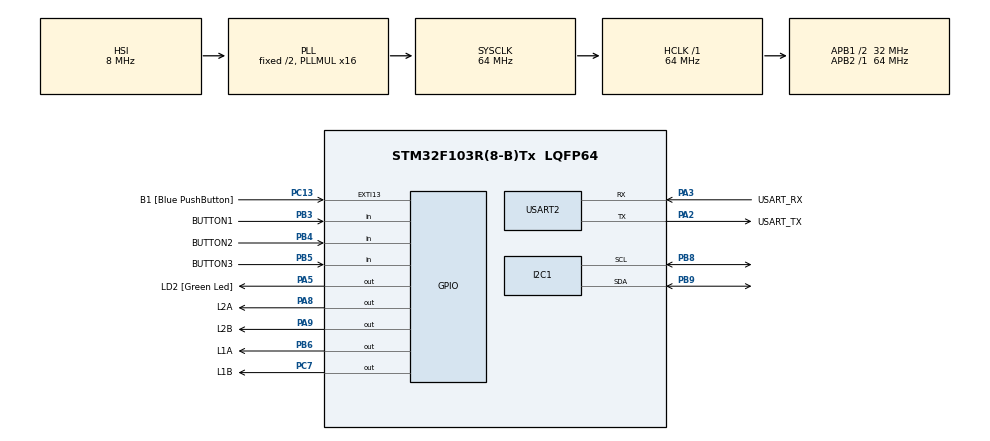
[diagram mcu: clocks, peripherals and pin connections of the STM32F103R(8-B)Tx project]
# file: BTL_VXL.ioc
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Mcu.Family=STM32F1
Mcu.Name=STM32F103R(8-B)Tx
Mcu.Package=LQFP64
NVIC.EXTI15_10_IRQn=true\:0\:0\:false\:false\:true\:true\:true
NVIC.PriorityGroup=NVIC_PRIORITYGROUP_4
NVIC.TIM2_IRQn=true\:0\:0\:false\:false\:true\:true\:true
PA13.GPIO_Label=TMS
PA13.Mode=Serial_Wire
PA13.Signal=SYS_JTMS-SWDIO
PA14.GPIO_Label=TCK
PA14.Mode=Serial_Wire
PA14.Signal=SYS_JTCK-SWCLK
PA2.GPIO_Label=USART_TX
PA2.GPIO_Mode=GPIO_MODE_AF_PP
PA2.GPIO_PuPd=GPIO_NOPULL
PA2.GPIO_Speed=GPIO_SPEED_FREQ_LOW
PA2.Mode=Asynchronous
PA2.Signal=USART2_TX
PA3.GPIO_Label=USART_RX
PA3.GPIO_Mode=GPIO_MODE_AF_PP
PA3.GPIO_PuPd=GPIO_NOPULL
PA3.GPIO_Speed=GPIO_SPEED_FREQ_LOW
PA3.Mode=Asynchronous
PA3.Signal=USART2_RX
PA5.GPIO_Label=LD2 [Green Led]
PA5.GPIO_ModeDefaultOutputPP=GPIO_MODE_OUTPUT_PP
PA5.GPIO_PuPd=GPIO_NOPULL
PA5.GPIO_Speed=GPIO_SPEED_FREQ_LOW
PA5.Signal=GPIO_Output
PA8.GPIO_Label=L2A
PA8.Signal=GPIO_Output
PA9.GPIO_Label=L2B
PA9.Signal=GPIO_Output
PB3.GPIO_Label=BUTTON1
PB3.Signal=GPIO_Input
PB4.GPIO_Label=BUTTON2
PB4.Signal=GPIO_Input
PB5.GPIO_Label=BUTTON3
PB5.Signal=GPIO_Input
PB6.GPIO_Label=L1A
PB6.Signal=GPIO_Output
PB8.Mode=I2C
PB8.Signal=I2C1_SCL
PB9.Mode=I2C
PB9.Signal=I2C1_SDA
PC13-TAMPER-RTC.GPIO_Label=B1 [Blue PushButton]
PC13-TAMPER-RTC.GPIO_PuPd=GPIO_NOPULL
PC13-TAMPER-RTC.Signal=GPXTI13
PC14-OSC32_IN.Mode=LSE-External-Oscillator
PC14-OSC32_IN.Signal=RCC_OSC32_IN
PC15-OSC32_OUT.Mode=LSE-External-Oscillator
PC15-OSC32_OUT.Signal=RCC_OSC32_OUT
PC7.GPIO_Label=L1B
PC7.Signal=GPIO_Output
PD0-OSC_IN.Mode=HSE-External-Clock-Source
PD0-OSC_IN.Signal=RCC_OSC_IN
PD1-OSC_OUT.Mode=HSE-External-Clock-Source
PD1-OSC_OUT.Signal=RCC_OSC_OUT
ProjectManager.HeapSize=0x200
ProjectManager.StackSize=0x400
ProjectManager.TargetToolchain=STM32CubeIDE
RCC.AHBFreq_Value=64000000
RCC.APB1CLKDivider=RCC_HCLK_DIV2
RCC.APB1Freq_Value=32000000
RCC.APB1TimFreq_Value=64000000
RCC.APB2Freq_Value=64000000
RCC.APB2TimFreq_Value=64000000
RCC.HCLKFreq_Value=64000000
RCC.PLLMUL=RCC_PLL_MUL16
RCC.RTCClockSelection=RCC_RTCCLKSOURCE_LSE
RCC.SYSCLKFreq_VALUE=64000000
RCC.SYSCLKSource=RCC_SYSCLKSOURCE_PLLCLK
RCC.USBFreq_Value=64000000
TIM2.Period=9
TIM2.Prescaler=7999
USART2.VirtualMode=VM_ASYNC
VP_TIM2_VS_ClockSourceINT.Mode=Internal
board=NUCLEO-F103RB

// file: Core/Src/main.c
/* USER CODE BEGIN Header */
/**
  ******************************************************************************
  * @file           : main.c
  * @brief          : Main program body
  ******************************************************************************
  * @attention
  *
  * <h2><center>&copy; Copyright (c) 2025 STMicroelectronics.
  * All rights reserved.</center></h2>
  *
  * This software component is licensed by ST under BSD 3-Clause license,
  * the "License"; You may not use this file except in compliance with the
  * License. You may obtain a copy of the License at:
  *                        opensource.org/licenses/BSD-3-Clause
  *
  ******************************************************************************
  */
/* USER CODE END Header */
#include "main.h"

/* USER CODE BEGIN Includes */
#include "button.h"
#include "fsm.h"
#include "scheduler.h"
#include "i2c-lcd.h"
/* USER CODE END Includes */

I2C_HandleTypeDef hi2c1;

TIM_HandleTypeDef htim2;

UART_HandleTypeDef huart2;

void SystemClock_Config(void);
static void MX_GPIO_Init(void);
static void MX_USART2_UART_Init(void);
static void MX_TIM2_Init(void);
static void MX_I2C1_Init(void);

/* USER CODE BEGIN 0 */
extern int current_time_1;
extern int current_time_2;
extern int red_time;
extern int green_time;
/* USER CODE END 0 */

int main(void)
{

  /* MCU Configuration--------------------------------------------------------*/

  /* Reset of all peripherals, Initializes the Flash interface and the Systick. */
  HAL_Init();

  /* Configure the system clock */
  SystemClock_Config();

  /* Initialize all configured peripherals */
  MX_GPIO_Init();
  MX_USART2_UART_Init();
  MX_TIM2_Init();
  MX_I2C1_Init();
  /* USER CODE BEGIN 2 */
  HAL_TIM_Base_Start_IT(&htim2);

  HAL_Delay(200);
  lcd_init();
  lcd_clear_display();
  HAL_Delay(1000);
  lcd_clear_display();
	// setTrafficLED(1,0,0, 0,0,1) được gọi bên trong enterState
	enterState(STATE_R1_G2, 1,0,0, 0,0,1); // Dùng STATE_R1_G2 thay cho AUTO_R1_G2

	lcd_show_auto_mode(5, 3); // Hiển thị thời gian khởi tạo ban đầu

  /* USER CODE END 2 */

  /* Infinite loop */
  /* USER CODE BEGIN WHILE */

	  SCH_Init();

	  // Task_Button_Read được gọi mỗi 1ms (chống dội)
	  SCH_Add_Task(Task_Button_Read, 0, 1);
	  // Task_FSM được gọi mỗi 1000ms (1 giây) để giảm thời gian/chuyển trạng thái
	  SCH_Add_Task(Task_FSM, 0, 1000);
	  // Task_BlinkLED được gọi mỗi 200ms (0.2 giây) cho chế độ Config nhấp nháy
	  SCH_Add_Task(Task_BlinkLED, 200, 200);

   // enterState(AUTO_R1_G2, 1,0,0, 0,0,1);

  while (1)
  {
	  SCH_Dispatch_Tasks();
    /* USER CODE END WHILE */

  }
}

void SystemClock_Config(void)
{
  RCC_OscInitTypeDef RCC_OscInitStruct = {0};
  RCC_ClkInitTypeDef RCC_ClkInitStruct = {0};

  /** Initializes the RCC Oscillators according to the specified parameters
  * in the RCC_OscInitTypeDef structure.
  */
  RCC_OscInitStruct.OscillatorType = RCC_OSCILLATORTYPE_HSI;
  RCC_OscInitStruct.HSIState = RCC_HSI_ON;
  RCC_OscInitStruct.HSICalibrationValue = RCC_HSICALIBRATION_DEFAULT;
  RCC_OscInitStruct.PLL.PLLState = RCC_PLL_ON;
  RCC_OscInitStruct.PLL.PLLSource = RCC_PLLSOURCE_HSI_DIV2;
  RCC_OscInitStruct.PLL.PLLMUL = RCC_PLL_MUL16;
  if (HAL_RCC_OscConfig(&RCC_OscInitStruct) != HAL_OK)
  {
    Error_Handler();
  }
  /** Initializes the CPU, AHB and APB buses clocks
  */
  RCC_ClkInitStruct.ClockType = RCC_CLOCKTYPE_HCLK|RCC_CLOCKTYPE_SYSCLK
                              |RCC_CLOCKTYPE_PCLK1|RCC_CLOCKTYPE_PCLK2;
  RCC_ClkInitStruct.SYSCLKSource = RCC_SYSCLKSOURCE_PLLCLK;
  RCC_ClkInitStruct.AHBCLKDivider = RCC_SYSCLK_DIV1;
  RCC_ClkInitStruct.APB1CLKDivider = RCC_HCLK_DIV2;
  RCC_ClkInitStruct.APB2CLKDivider = RCC_HCLK_DIV1;

  if (HAL_RCC_ClockConfig(&RCC_ClkInitStruct, FLASH_LATENCY_2) != HAL_OK)
  {
    Error_Handler();
  }
}

static void MX_I2C1_Init(void)
{

  hi2c1.Instance = I2C1;
  hi2c1.Init.ClockSpeed = 100000;
  hi2c1.Init.DutyCycle = I2C_DUTYCYCLE_2;
  hi2c1.Init.OwnAddress1 = 0;
  hi2c1.Init.AddressingMode = I2C_ADDRESSINGMODE_7BIT;
  hi2c1.Init.DualAddressMode = I2C_DUALADDRESS_DISABLE;
  hi2c1.Init.OwnAddress2 = 0;
  hi2c1.Init.GeneralCallMode = I2C_GENERALCALL_DISABLE;
  hi2c1.Init.NoStretchMode = I2C_NOSTRETCH_DISABLE;
  if (HAL_I2C_Init(&hi2c1) != HAL_OK)
  {
    Error_Handler();
  }

}

static void MX_TIM2_Init(void)
{

  TIM_ClockConfigTypeDef sClockSourceConfig = {0};
  TIM_MasterConfigTypeDef sMasterConfig = {0};

  htim2.Instance = TIM2;
  htim2.Init.Prescaler = 7999;
  htim2.Init.CounterMode = TIM_COUNTERMODE_UP;
  htim2.Init.Period = 9;
  htim2.Init.ClockDivision = TIM_CLOCKDIVISION_DIV1;
  htim2.Init.AutoReloadPreload = TIM_AUTORELOAD_PRELOAD_DISABLE;
  if (HAL_TIM_Base_Init(&htim2) != HAL_OK)
  {
    Error_Handler();
  }
  sClockSourceConfig.ClockSource = TIM_CLOCKSOURCE_INTERNAL;
  if (HAL_TIM_ConfigClockSource(&htim2, &sClockSourceConfig) != HAL_OK)
  {
    Error_Handler();
  }
  sMasterConfig.MasterOutputTrigger = TIM_TRGO_RESET;
  sMasterConfig.MasterSlaveMode = TIM_MASTERSLAVEMODE_DISABLE;
  if (HAL_TIMEx_MasterConfigSynchronization(&htim2, &sMasterConfig) != HAL_OK)
  {
    Error_Handler();
  }

}

static void MX_USART2_UART_Init(void)
{

  huart2.Instance = USART2;
  huart2.Init.BaudRate = 115200;
  huart2.Init.WordLength = UART_WORDLENGTH_8B;
  huart2.Init.StopBits = UART_STOPBITS_1;
  huart2.Init.Parity = UART_PARITY_NONE;
  huart2.Init.Mode = UART_MODE_TX_RX;
  huart2.Init.HwFlowCtl = UART_HWCONTROL_NONE;
  huart2.Init.OverSampling = UART_OVERSAMPLING_16;
  if (HAL_UART_Init(&huart2) != HAL_OK)
  {
    Error_Handler();
  }

}

static void MX_GPIO_Init(void)
{
  GPIO_InitTypeDef GPIO_InitStruct = {0};

  /* GPIO Ports Clock Enable */
  __HAL_RCC_GPIOC_CLK_ENABLE();
  __HAL_RCC_GPIOD_CLK_ENABLE();
  __HAL_RCC_GPIOA_CLK_ENABLE();
  __HAL_RCC_GPIOB_CLK_ENABLE();

  /*Configure GPIO pin Output Level */
  HAL_GPIO_WritePin(GPIOA, LD2_Pin|L2A_Pin|L2B_Pin, GPIO_PIN_RESET);

  /*Configure GPIO pin Output Level */
  HAL_GPIO_WritePin(L1B_GPIO_Port, L1B_Pin, GPIO_PIN_RESET);

  /*Configure GPIO pin Output Level */
  HAL_GPIO_WritePin(L1A_GPIO_Port, L1A_Pin, GPIO_PIN_RESET);

  /*Configure GPIO pin : B1_Pin */
  GPIO_InitStruct.Pin = B1_Pin;
  GPIO_InitStruct.Mode = GPIO_MODE_IT_RISING;
  GPIO_InitStruct.Pull = GPIO_NOPULL;
  HAL_GPIO_Init(B1_GPIO_Port, &GPIO_InitStruct);

  /*Configure GPIO pins : LD2_Pin L2A_Pin L2B_Pin */
  GPIO_InitStruct.Pin = LD2_Pin|L2A_Pin|L2B_Pin;
  GPIO_InitStruct.Mode = GPIO_MODE_OUTPUT_PP;
  GPIO_InitStruct.Pull = GPIO_NOPULL;
  GPIO_InitStruct.Speed = GPIO_SPEED_FREQ_LOW;
  HAL_GPIO_Init(GPIOA, &GPIO_InitStruct);

  /*Configure GPIO pin : L1B_Pin */
  GPIO_InitStruct.Pin = L1B_Pin;
  GPIO_InitStruct.Mode = GPIO_MODE_OUTPUT_PP;
  GPIO_InitStruct.Pull = GPIO_NOPULL;
  GPIO_InitStruct.Speed = GPIO_SPEED_FREQ_LOW;
  HAL_GPIO_Init(L1B_GPIO_Port, &GPIO_InitStruct);

  /*Configure GPIO pins : BUTTON1_Pin BUTTON2_Pin BUTTON3_Pin */
  GPIO_InitStruct.Pin = BUTTON1_Pin|BUTTON2_Pin|BUTTON3_Pin;
  GPIO_InitStruct.Mode = GPIO_MODE_INPUT;
  GPIO_InitStruct.Pull = GPIO_NOPULL;
  HAL_GPIO_Init(GPIOB, &GPIO_InitStruct);

  /*Configure GPIO pin : L1A_Pin */
  GPIO_InitStruct.Pin = L1A_Pin;
  GPIO_InitStruct.Mode = GPIO_MODE_OUTPUT_PP;
  GPIO_InitStruct.Pull = GPIO_NOPULL;
  GPIO_InitStruct.Speed = GPIO_SPEED_FREQ_LOW;
  HAL_GPIO_Init(L1A_GPIO_Port, &GPIO_InitStruct);

  /* EXTI interrupt init*/
  HAL_NVIC_SetPriority(EXTI15_10_IRQn, 0, 0);
  HAL_NVIC_EnableIRQ(EXTI15_10_IRQn);

}

/* USER CODE BEGIN 4 */
void HAL_TIM_PeriodElapsedCallback(TIM_HandleTypeDef *htim) {
	if(htim->Instance == TIM2){
	        SCH_Update();
	    }
}
int _write(int file, char *ptr, int len) {
    HAL_UART_Transmit(&huart2, (uint8_t*)ptr, len, 1000);
    return len;
}

/* USER CODE END 4 */

void Error_Handler(void)
{
  __disable_irq();
  while (1)
  {
  }
}

/************************ (C) COPYRIGHT STMicroelectronics *****END OF FILE****/
